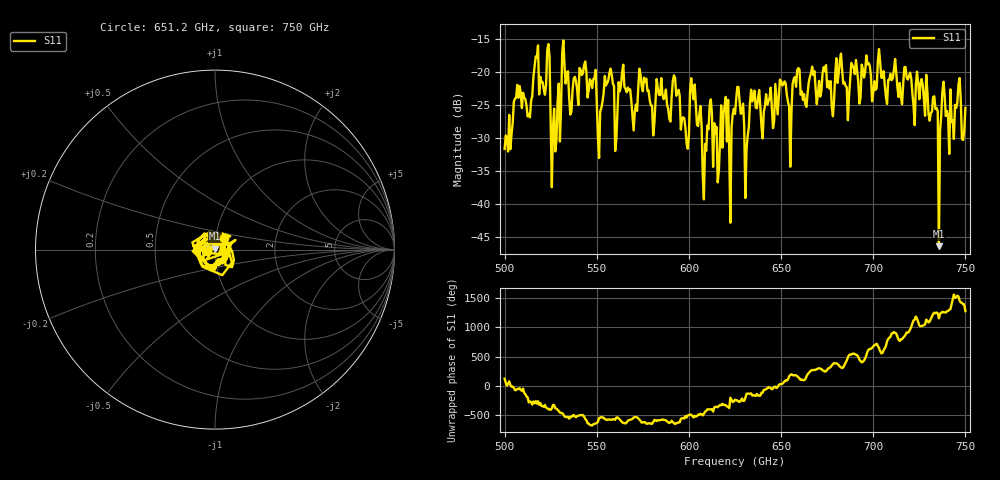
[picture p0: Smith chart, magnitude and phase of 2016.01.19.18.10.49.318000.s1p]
!Created with skrf (http://scikit-rf.org).
# GHz S RI R 50.0
!freq ReS11 ImS11
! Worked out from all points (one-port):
!   401 points, 500 GHz to 750 GHz, reference 50 ohm
!   lowest |S11| = -46.4 dB at 735.6 GHz (marker M1), VSWR 1.01, Z = 50.1 + j0.461 ohm
!   |S11| at or under -10 dB: start of sweep to end of sweep
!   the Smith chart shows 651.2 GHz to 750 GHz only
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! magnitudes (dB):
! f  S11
! 500 GHz  -31.7
! 506.9 GHz  -22.0
! 513.8 GHz  -26.9
! 516.9 GHz  -17.7
! 523.1 GHz  -16.8
! 526.9 GHz  -25.6
! 531.2 GHz  -17.2
! 548.1 GHz  -21.2
! 551.2 GHz  -33.1
! 555.6 GHz  -21.7
! 560 GHz  -32.0
! 562.5 GHz  -23.0
! 593.8 GHz  -23.2
! 598.8 GHz  -30.9
! 602.5 GHz  -24.2
! 608.1 GHz  -39.3
! 611.2 GHz  -25.2
! 623.1 GHz  -28.5
! 625 GHz  -26.4
! 631.2 GHz  -31.8
! 634.4 GHz  -24.5
! 656.2 GHz  -21.9
! 687.5 GHz  -21.3
! 718.8 GHz  -21.2
! 733.8 GHz  -25.7
! 735.6 GHz  -46.4
! 738.8 GHz  -23.7
! 750 GHz  -25.5
